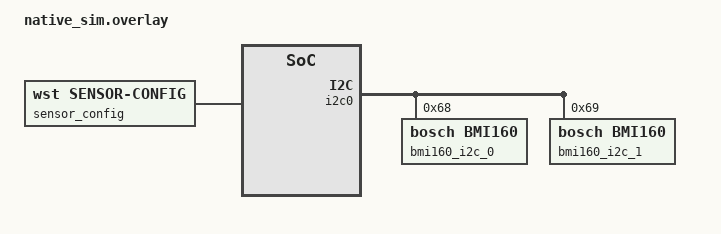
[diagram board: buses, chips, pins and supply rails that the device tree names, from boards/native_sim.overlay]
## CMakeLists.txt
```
#
# This file is part of Weather Station project <https://github.com/VeniaminGH/Weather-Station>.
# Copyright (c) 2024 Veniamin Milevski
#
# This program is free software: you can redistribute it and/or modify
# it under the terms of the GNU General Public License as published by
# the Free Software Foundation, version 3.
#
# This program is distributed WITHOUT ANY WARRANTY. See the GNU
# General Public License for more details.
#
# You should have received a copy of the GNU General Public License
# along with this program. If not, see <https://www.gnu.org/licenses/gpl-3.0.html>.
#

cmake_minimum_required(VERSION 3.20.0)

find_package(Zephyr REQUIRED HINTS $ENV{ZEPHYR_BASE})

project(wst_sensor_sim)

target_include_directories(app PRIVATE
  ../../../src/
  ../../../include/
)

FILE(GLOB wst_app_sources
  ../../../src/wst_sensor_thread.c
  ../../../src/wst_sensor_utils.c
  ../../../src/wst_sensor_config.c
  ../../../src/wst_events.c
)

target_sources(app PRIVATE
  ${wst_app_sources}
  src/main.c
  src/wst_app_thread.c
)
```

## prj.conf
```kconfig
CONFIG_LOG=y

CONFIG_SENSOR=y
CONFIG_SENSOR_INFO=y
CONFIG_SENSOR_ASYNC_API=y
```

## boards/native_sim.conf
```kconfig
CONFIG_NO_OPTIMIZATIONS=y
CONFIG_NATIVE_SIM_SLOWDOWN_TO_REAL_TIME=y

#Enable BMI160 and BMI160 Emulator
CONFIG_BMI160_TRIGGER_NONE=y
CONFIG_EMUL_BMI160=y
CONFIG_EMUL=y


CONFIG_INIT_STACKS=y
CONFIG_MAIN_STACK_SIZE=1024
CONFIG_RTIO_WORKQ_THREADS_POOL=2
```

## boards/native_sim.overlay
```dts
/*
 * This file is part of Weather Station project <https://github.com/VeniaminGH/Weather-Station>.
 * Copyright (c) 2024 Veniamin Milevski
 *
 * This program is free software: you can redistribute it and/or modify
 * it under the terms of the GNU General Public License as published by
 * the Free Software Foundation, version 3.
 *
 * This program is distributed WITHOUT ANY WARRANTY. See the GNU
 * General Public License for more details.
 *
 * You should have received a copy of the GNU General Public License
 * along with this program. If not, see <https://www.gnu.org/licenses/gpl-3.0.html>.
 *
 */

#include "../../../../include/wst_sensor_types.h"

&i2c0 {
	bmi160_i2c_0: bmi@68 {
		compatible = "bosch,bmi160";
		reg = <0x68>;
	};

	bmi160_i2c_1: bmi@69 {
		compatible = "bosch,bmi160";
		reg = <0x69>;
	};
};

/ {
	sensor_config: sensor-config {
		compatible = "wst,sensor-config";
		status = "okay";

		polling-interval-ms = <1000>;

		accel_gyro: accel-gyro {
			compatible = "wst,sensor";
			status = "okay";

			friendly-name = "Accel Gyro Sensor";
			channel-types = <
				WST_CHANNEL_TYPE_ACCEL_XYZ
				WST_CHANNEL_TYPE_GYRO_XYZ
			>;
			sensor-device = <&bmi160_i2c_0>;
		};

		die_temp: die-temp {
			compatible = "wst,sensor";
			status = "okay";

			friendly-name = "Die Temp Sensor";
			channel-types =
				<WST_CHANNEL_TYPE_DIE_TEMP>;
			sensor-device = <&bmi160_i2c_1>;
		};
	};
};
```

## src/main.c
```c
/*
 * This file is part of Weather Station project <https://github.com/VeniaminGH/Weather-Station>.
 * Copyright (c) 2024 Veniamin Milevski
 *
 * This program is free software: you can redistribute it and/or modify
 * it under the terms of the GNU General Public License as published by
 * the Free Software Foundation, version 3.
 *
 * This program is distributed WITHOUT ANY WARRANTY. See the GNU
 * General Public License for more details.
 *
 * You should have received a copy of the GNU General Public License
 * along with this program. If not, see <https://www.gnu.org/licenses/gpl-3.0.html>.
 *
 */

#include "wst_sensor_thread.h"
#include "wst_app_thread.h"
#include "wst_events.h"

#include <zephyr/kernel.h>
#include <zephyr/logging/log.h>

LOG_MODULE_REGISTER(main, LOG_LEVEL_INF);

// Define Sensor Thread
struct k_thread wst_sensor_thread;
K_THREAD_STACK_DEFINE(wst_sensor_stack, WST_SENSOR_STACKSIZE);

// Define App Thread
struct k_thread wst_app_thread;
K_THREAD_STACK_DEFINE(wst_app_stack, WST_APP_STACKSIZE);

int main(void)
{
	sys_heap_init(&events_pool, events_pool_mem, sizeof(events_pool_mem));

	// Create App Thread
	k_tid_t app_thread = k_thread_create(
		&wst_app_thread,
		wst_app_stack,
		WST_APP_STACKSIZE,
		wst_app_thread_entry,
		NULL,
		NULL,
		NULL,
		-1,
		K_INHERIT_PERMS,
		K_NO_WAIT);
	LOG_INF("APP thread is ceated");

	// Create Sensor Thread
	k_tid_t sensor_thread = k_thread_create(
		&wst_sensor_thread,
		wst_sensor_stack,
		WST_SENSOR_STACKSIZE,
		wst_sensor_thread_entry,
		NULL,
		NULL,
		NULL,
		-1,
		K_INHERIT_PERMS,
		K_NO_WAIT);
	LOG_INF("SENSOR thread is ceated");

	k_thread_join(app_thread, K_FOREVER);
	k_thread_join(sensor_thread, K_FOREVER);

	return 0;
}
```

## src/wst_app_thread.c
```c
/*
 * This file is part of Weather Station project <https://github.com/VeniaminGH/Weather-Station>.
 * Copyright (c) 2024 Veniamin Milevski
 *
 * This program is free software: you can redistribute it and/or modify
 * it under the terms of the GNU General Public License as published by
 * the Free Software Foundation, version 3.
 *
 * This program is distributed WITHOUT ANY WARRANTY. See the GNU
 * General Public License for more details.
 *
 * You should have received a copy of the GNU General Public License
 * along with this program. If not, see <https://www.gnu.org/licenses/gpl-3.0.html>.
 */

#include "wst_app_thread.h"
#include "wst_events.h"
#include "wst_sensor_config.h"
#include "wst_sensor_utils.h"

#include <zephyr/kernel.h>
#include <zephyr/device.h>
#include <zephyr/sys/libc-hooks.h>
#include <zephyr/logging/log.h>


LOG_MODULE_REGISTER(wst_app_thread);

static void log_sensor_data(const wst_event_msg_t* msg)
{
	for (uint16_t i = 0; i < msg->sensor.count; i++) {

		const wst_sensor_value_t* value = &msg->sensor.values[i];

		switch (wst_sensor_get_channel_format(value->spec.chan_type)) {

			case wst_sensor_format_scalar:
				{
					struct sensor_value val;
					
					wst_q31_to_sensor_value(
						value->data.q31_data.readings[0].value,
						value->data.q31_data.shift,
						&val);

					LOG_INF("%-20s : %6d.%06d",
						wst_sensor_get_channel_name(value->spec.chan_type),
						((val.val1 < 0) || (val.val2 < 0)) ? 0 - abs(val.val1) : abs(val.val1),
						abs(val.val2)
					);
				}
				break;

			case wst_sensor_format_3d_vector:
				LOG_INF("%-20s channel value - %" PRIsensor_three_axis_data,
					wst_sensor_get_channel_name(value->spec.chan_type),
					PRIsensor_three_axis_data_arg(value->data.q31_3d_data, 0)
				);
				break;

			case wst_sensor_format_occurence:
			case wst_sensor_format_byte_data:
			case wst_sensor_format_uint64_data:
			default:
				break;
		};
	}
}

static void application_thread(void *p1, void *p2, void *p3)
{
	ARG_UNUSED(p1);
	ARG_UNUSED(p2);
	ARG_UNUSED(p3);

	LOG_DBG("Application thread entered");

	wst_event_msg_t* msg;

	while (1) {
		msg = k_queue_get(&app_events_queue, K_FOREVER);

		if (msg == NULL) {
			LOG_ERR("no msg?");
			k_panic();
		}

		switch (msg->event)
		{
		case wst_event_sensor_data_available:
			log_sensor_data(msg);
			break;
		
		default:
			break;
		}

		// free the message
		sys_heap_free(&events_pool, msg);
	}
}

//
// Supervisor mode setup function for APP Thread
//
void wst_app_thread_entry(void *p1, void *p2, void *p3)
{
	LOG_INF("APP thread entry");

	//
	// Grant ourselves access to kernel device objects and shared queues.
	//
	k_thread_access_grant(
		k_current_get(),
		&app_events_queue,
		&io_events_queue
	);

	//
	// Switch APP thread to user mode
	//
	k_thread_user_mode_enter(application_thread, NULL, NULL, NULL);
}
```

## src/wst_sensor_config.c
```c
/*
 * This file is part of Weather Station project <https://github.com/VeniaminGH/Weather-Station>.
 * Copyright (c) 2024 Veniamin Milevski
 *
 * This program is free software: you can redistribute it and/or modify
 * it under the terms of the GNU General Public License as published by
 * the Free Software Foundation, version 3.
 *
 * This program is distributed WITHOUT ANY WARRANTY. See the GNU
 * General Public License for more details.
 *
 * You should have received a copy of the GNU General Public License
 * along with this program. If not, see <https://www.gnu.org/licenses/gpl-3.0.html>.
 */

#include "wst_sensor_config.h"
#include "wst_sensor_utils.h"


#include <zephyr/kernel.h>
#include <zephyr/toolchain.h>
#include <zephyr/logging/log.h>
#include <zephyr/device.h>
#include <zephyr/sys/__assert.h>
#include <zephyr/devicetree.h>
#include <zephyr/drivers/sensor.h>
#include <zephyr/drivers/sensor_data_types.h>


#define LOG_LEVEL CONFIG_LOG_DEFAULT_LEVEL
//#define LOG_LEVEL LOG_LEVEL_DBG
LOG_MODULE_REGISTER(wst_sensor_config);


//
// Configure DT compatibility to wst,senor.yaml profile
//
#define DT_DRV_COMPAT wst_sensor

//
// Declare iodevs for sensors RTIO
//
#define WST_DT_SENSOR_CHANNEL_ARRAY_DEFINE(node_id, prop, idx)	\
	{.chan_type = DT_PROP_BY_IDX(node_id, prop, idx), .chan_idx = 0}


#define WST_DT_READ_IODEV(_inst)												\
	SENSOR_DT_READ_IODEV(														\
		_CONCAT(sensor_iodev, _inst),											\
		DT_PHANDLE(DT_DRV_INST(_inst), sensor_device),							\
		DT_INST_FOREACH_PROP_ELEM_SEP(											\
			_inst, channel_types,												\
			WST_DT_SENSOR_CHANNEL_ARRAY_DEFINE, (,))							\
);

DT_INST_FOREACH_STATUS_OKAY(WST_DT_READ_IODEV);


#define WST_DT_READ_IODEV_REFERENCE_DEFINE(_inst)								\
	_CONCAT(&sensor_iodev, _inst),

static struct rtio_iodev* iodevs[] = {
	DT_INST_FOREACH_STATUS_OKAY(WST_DT_READ_IODEV_REFERENCE_DEFINE)
};


//
// Declare sensors info
//
#define WST_DT_SENSOR_DEVICE_DEFINE(_inst)										\
	DEVICE_DT_GET(DT_PHANDLE(DT_DRV_INST(_inst), sensor_device))

#define WST_DT_SENSOR_INFO(_inst)												\
	static const wst_sensor_info_t _CONCAT(sensor, _inst) = {					\
		.sensor_device = WST_DT_SENSOR_DEVICE_DEFINE(_inst),					\
		.name = DT_NODE_FULL_NAME(DT_DRV_INST(_inst)),							\
		.friendly_name = DT_PROP(DT_DRV_INST(_inst), friendly_name),			\
		.channel_type_count = DT_PROP_LEN(DT_DRV_INST(_inst), channel_types),	\
		.channel_types = DT_PROP(DT_DRV_INST(_inst), channel_types),			\
	};

DT_INST_FOREACH_STATUS_OKAY(WST_DT_SENSOR_INFO);

#define WST_DT_SENSOR_INFO_REFERENCE_DEFINE(_inst)								\
	_CONCAT(&sensor, _inst),

static const wst_sensor_info_t* sensors[] = {
	DT_INST_FOREACH_STATUS_OKAY(WST_DT_SENSOR_INFO_REFERENCE_DEFINE)
};

//
// Declare sensors configuration
//
static const wst_sensor_config_t sensor_config = {
	.iodevs = iodevs,
	.sensors = sensors,
	.sensor_count = ARRAY_SIZE(sensors),
	.polling_period_ms = DT_PROP(DT_NODELABEL(sensor_config), polling_interval_ms)
};

static int get_sensor_count(void)
{
	return ARRAY_SIZE(sensors);
}

static void print_sensor_info(const wst_sensor_info_t* sensor)
{
	LOG_INF("Sensor '%s' found on [%s] device",
		sensor->name,
		sensor->sensor_device->name
	);

	LOG_INF("Supported channels on %s:", sensor->friendly_name);

	for (int i = 0; i < sensor->channel_type_count; i++) {
		LOG_INF("   %s", wst_sensor_get_channel_name(sensor->channel_types[i]));
	}
}

const wst_sensor_config_t* wst_sensor_get_config(void)
{
	LOG_INF("Sensor polling period: %d ms", sensor_config.polling_period_ms);

	for (int i = 0; i < get_sensor_count(); i++)
	{
		if (!device_is_ready(sensors[i]->sensor_device)) {
			LOG_ERR("device %s not ready.", sensors[i]->sensor_device->name);
			k_oops();
		} else {
			print_sensor_info(sensors[i]);
		}
	}


	return &sensor_config;
}
```
